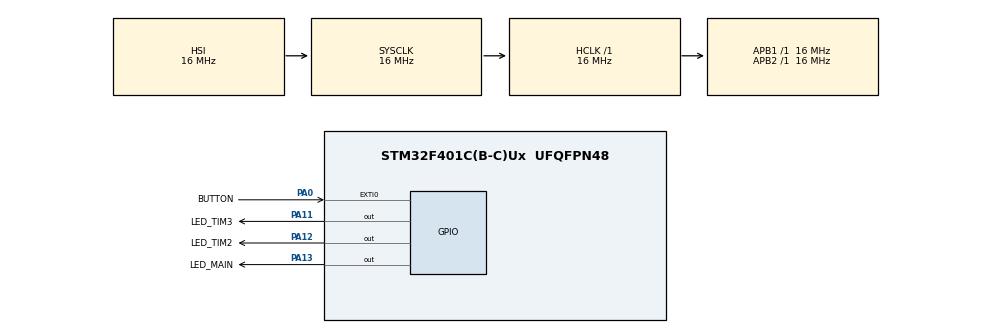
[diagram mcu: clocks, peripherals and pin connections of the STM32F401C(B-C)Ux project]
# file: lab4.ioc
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Mcu.Family=STM32F4
Mcu.Name=STM32F401C(B-C)Ux
Mcu.Package=UFQFPN48
NVIC.EXTI0_IRQn=true\:1\:0\:true\:false\:true\:true\:true\:true
NVIC.PriorityGroup=NVIC_PRIORITYGROUP_4
NVIC.TIM2_IRQn=true\:0\:0\:false\:false\:true\:true\:true\:true
NVIC.TIM3_IRQn=true\:0\:0\:false\:false\:true\:true\:true\:true
PA0-WKUP.GPIO_Label=BUTTON
PA0-WKUP.GPIO_ModeDefaultEXTI=GPIO_MODE_IT_RISING_FALLING
PA0-WKUP.Signal=GPXTI0
PA11.GPIO_Label=LED_TIM3
PA11.PinState=GPIO_PIN_SET
PA11.Signal=GPIO_Output
PA12.GPIO_Label=LED_TIM2
PA12.PinState=GPIO_PIN_SET
PA12.Signal=GPIO_Output
PA13.GPIO_Label=LED_MAIN
PA13.PinState=GPIO_PIN_SET
PA13.Signal=GPIO_Output
ProjectManager.HeapSize=0x200
ProjectManager.StackSize=0x400
ProjectManager.TargetToolchain=STM32CubeIDE
RCC.AHBFreq_Value=16000000
RCC.APB1Freq_Value=16000000
RCC.APB1TimFreq_Value=16000000
RCC.APB2Freq_Value=16000000
RCC.APB2TimFreq_Value=16000000
RCC.CortexFreq_Value=16000000
RCC.HCLKFreq_Value=16000000
RCC.HSE_VALUE=25000000
RCC.HSI_VALUE=16000000
RCC.LSE_VALUE=32768
RCC.PLLP=RCC_PLLP_DIV8
RCC.SYSCLKFreq_VALUE=16000000
RCC.VCOOutputFreq_Value=192000000
TIM2.Period=300-1
TIM2.Prescaler=16000-1
TIM2.TIM_MasterOutputTrigger=TIM_TRGO_UPDATE
TIM3.Period=200-1
TIM3.Prescaler=16000-1
TIM3.TIM_MasterOutputTrigger=TIM_TRGO_UPDATE
VP_TIM2_VS_ClockSourceINT.Mode=Internal
VP_TIM3_VS_ClockSourceINT.Mode=Internal
board=custom

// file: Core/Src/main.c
/* USER CODE BEGIN Header */
/**
 ******************************************************************************
 * @file           : main.c
 * @brief          : Main program body
 ******************************************************************************
 * @attention
 *
 * Copyright (c) 2022 STMicroelectronics.
 * All rights reserved.
 *
 * This software is licensed under terms that can be found in the LICENSE file
 * in the root directory of this software component.
 * If no LICENSE file comes with this software, it is provided AS-IS.
 *
 ******************************************************************************
 */
/* USER CODE END Header */
#include "main.h"

/* USER CODE BEGIN Includes */
#include <stdbool.h>
/* USER CODE END Includes */

 TIM_HandleTypeDef htim2;
TIM_HandleTypeDef htim3;

void SystemClock_Config(void);
static void MX_GPIO_Init(void);
static void MX_TIM3_Init(void);
static void MX_TIM2_Init(void);

int main(void)
{

  /* MCU Configuration--------------------------------------------------------*/

  /* Reset of all peripherals, Initializes the Flash interface and the Systick. */
  HAL_Init();

  /* Configure the system clock */
  SystemClock_Config();

  /* Initialize all configured peripherals */
  MX_GPIO_Init();
  MX_TIM3_Init();
  MX_TIM2_Init();
  /* USER CODE BEGIN 2 */
	HAL_TIM_Base_Start_IT(&htim2);
	HAL_TIM_Base_Start_IT(&htim3);
  /* USER CODE END 2 */

  /* Infinite loop */
  /* USER CODE BEGIN WHILE */
	while (1) {
		HAL_Delay(500);
		HAL_GPIO_TogglePin(LED_MAIN_GPIO_Port, LED_MAIN_Pin);
    /* USER CODE END WHILE */

	}
}

void SystemClock_Config(void)
{
  RCC_OscInitTypeDef RCC_OscInitStruct = {0};
  RCC_ClkInitTypeDef RCC_ClkInitStruct = {0};

  /** Configure the main internal regulator output voltage
  */
  __HAL_RCC_PWR_CLK_ENABLE();
  __HAL_PWR_VOLTAGESCALING_CONFIG(PWR_REGULATOR_VOLTAGE_SCALE2);

  /** Initializes the RCC Oscillators according to the specified parameters
  * in the RCC_OscInitTypeDef structure.
  */
  RCC_OscInitStruct.OscillatorType = RCC_OSCILLATORTYPE_HSI;
  RCC_OscInitStruct.HSIState = RCC_HSI_ON;
  RCC_OscInitStruct.HSICalibrationValue = RCC_HSICALIBRATION_DEFAULT;
  RCC_OscInitStruct.PLL.PLLState = RCC_PLL_NONE;
  if (HAL_RCC_OscConfig(&RCC_OscInitStruct) != HAL_OK)
  {
    Error_Handler();
  }

  /** Initializes the CPU, AHB and APB buses clocks
  */
  RCC_ClkInitStruct.ClockType = RCC_CLOCKTYPE_HCLK|RCC_CLOCKTYPE_SYSCLK
                              |RCC_CLOCKTYPE_PCLK1|RCC_CLOCKTYPE_PCLK2;
  RCC_ClkInitStruct.SYSCLKSource = RCC_SYSCLKSOURCE_HSI;
  RCC_ClkInitStruct.AHBCLKDivider = RCC_SYSCLK_DIV1;
  RCC_ClkInitStruct.APB1CLKDivider = RCC_HCLK_DIV1;
  RCC_ClkInitStruct.APB2CLKDivider = RCC_HCLK_DIV1;

  if (HAL_RCC_ClockConfig(&RCC_ClkInitStruct, FLASH_LATENCY_0) != HAL_OK)
  {
    Error_Handler();
  }
}

static void MX_TIM2_Init(void)
{

  TIM_ClockConfigTypeDef sClockSourceConfig = {0};
  TIM_MasterConfigTypeDef sMasterConfig = {0};

  htim2.Instance = TIM2;
  htim2.Init.Prescaler = 16000-1;
  htim2.Init.CounterMode = TIM_COUNTERMODE_UP;
  htim2.Init.Period = 300-1;
  htim2.Init.ClockDivision = TIM_CLOCKDIVISION_DIV1;
  htim2.Init.AutoReloadPreload = TIM_AUTORELOAD_PRELOAD_DISABLE;
  if (HAL_TIM_Base_Init(&htim2) != HAL_OK)
  {
    Error_Handler();
  }
  sClockSourceConfig.ClockSource = TIM_CLOCKSOURCE_INTERNAL;
  if (HAL_TIM_ConfigClockSource(&htim2, &sClockSourceConfig) != HAL_OK)
  {
    Error_Handler();
  }
  sMasterConfig.MasterOutputTrigger = TIM_TRGO_UPDATE;
  sMasterConfig.MasterSlaveMode = TIM_MASTERSLAVEMODE_DISABLE;
  if (HAL_TIMEx_MasterConfigSynchronization(&htim2, &sMasterConfig) != HAL_OK)
  {
    Error_Handler();
  }

}

static void MX_TIM3_Init(void)
{

  TIM_ClockConfigTypeDef sClockSourceConfig = {0};
  TIM_MasterConfigTypeDef sMasterConfig = {0};

  htim3.Instance = TIM3;
  htim3.Init.Prescaler = 16000-1;
  htim3.Init.CounterMode = TIM_COUNTERMODE_UP;
  htim3.Init.Period = 200-1;
  htim3.Init.ClockDivision = TIM_CLOCKDIVISION_DIV1;
  htim3.Init.AutoReloadPreload = TIM_AUTORELOAD_PRELOAD_DISABLE;
  if (HAL_TIM_Base_Init(&htim3) != HAL_OK)
  {
    Error_Handler();
  }
  sClockSourceConfig.ClockSource = TIM_CLOCKSOURCE_INTERNAL;
  if (HAL_TIM_ConfigClockSource(&htim3, &sClockSourceConfig) != HAL_OK)
  {
    Error_Handler();
  }
  sMasterConfig.MasterOutputTrigger = TIM_TRGO_UPDATE;
  sMasterConfig.MasterSlaveMode = TIM_MASTERSLAVEMODE_DISABLE;
  if (HAL_TIMEx_MasterConfigSynchronization(&htim3, &sMasterConfig) != HAL_OK)
  {
    Error_Handler();
  }

}

static void MX_GPIO_Init(void)
{
  GPIO_InitTypeDef GPIO_InitStruct = {0};

  /* GPIO Ports Clock Enable */
  __HAL_RCC_GPIOA_CLK_ENABLE();

  /*Configure GPIO pin Output Level */
  HAL_GPIO_WritePin(GPIOA, LED_TIM3_Pin|LED_TIM2_Pin|LED_MAIN_Pin, GPIO_PIN_SET);

  /*Configure GPIO pin : BUTTON_Pin */
  GPIO_InitStruct.Pin = BUTTON_Pin;
  GPIO_InitStruct.Mode = GPIO_MODE_IT_RISING_FALLING;
  GPIO_InitStruct.Pull = GPIO_NOPULL;
  HAL_GPIO_Init(BUTTON_GPIO_Port, &GPIO_InitStruct);

  /*Configure GPIO pins : LED_TIM3_Pin LED_TIM2_Pin LED_MAIN_Pin */
  GPIO_InitStruct.Pin = LED_TIM3_Pin|LED_TIM2_Pin|LED_MAIN_Pin;
  GPIO_InitStruct.Mode = GPIO_MODE_OUTPUT_PP;
  GPIO_InitStruct.Pull = GPIO_NOPULL;
  GPIO_InitStruct.Speed = GPIO_SPEED_FREQ_LOW;
  HAL_GPIO_Init(GPIOA, &GPIO_InitStruct);

  /* EXTI interrupt init*/
  HAL_NVIC_SetPriority(EXTI0_IRQn, 1, 0);
  HAL_NVIC_EnableIRQ(EXTI0_IRQn);

}

/* USER CODE BEGIN 4 */

static bool flag = false;

void HAL_GPIO_EXTI_Callback(uint16_t GPIO_Pin) {

	if (GPIO_Pin == BUTTON_Pin) {
		if (HAL_GPIO_ReadPin(BUTTON_GPIO_Port, BUTTON_Pin)) {
			flag = true;
			HAL_GPIO_WritePin(LED_TIM3_GPIO_Port, LED_TIM3_Pin, GPIO_PIN_SET);
			HAL_GPIO_WritePin(LED_TIM2_GPIO_Port, LED_TIM2_Pin, GPIO_PIN_SET);
		} else {
			flag = false;
		}
	}

}

void HAL_TIM_PeriodElapsedCallback(TIM_HandleTypeDef *htim) {

	if (!flag) {
		if (htim->Instance == TIM3) {
			HAL_GPIO_TogglePin(LED_TIM3_GPIO_Port, LED_TIM3_Pin);
		}

		if (htim->Instance == TIM2) {
			HAL_GPIO_TogglePin(LED_TIM2_GPIO_Port, LED_TIM2_Pin);
		}
	}

}
/* USER CODE END 4 */

void Error_Handler(void)
{
	__disable_irq();
	while (1) {
	}
}
